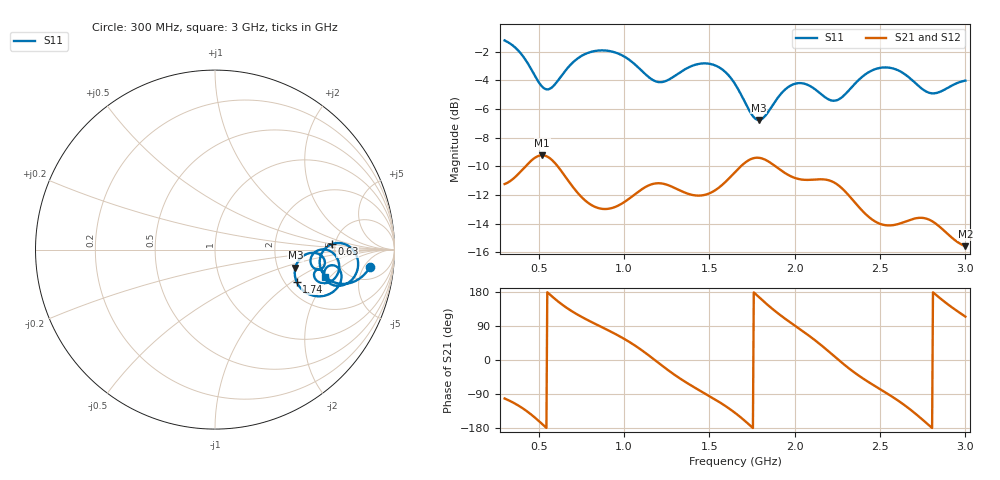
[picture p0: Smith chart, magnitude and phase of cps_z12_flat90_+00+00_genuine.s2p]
! cps_z12_flat90_+00+00_genuine
! simulated by sim/fixtures_fdtd.py (S12 = S21, S22 not computed)
# HZ S RI R 50
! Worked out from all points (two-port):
!   541 points, 300 MHz to 3 GHz, reference 50 ohm
!   highest |S21| = -9.23 dB at 520 MHz (marker M1); lowest = -15.6 dB at 3 GHz (marker M2)
!   |S21| within 3 dB of the highest: start of sweep to 758.2 MHz; 1.032 GHz to 2.332 GHz (1.299 GHz wide, 77.2 % of centre)
!   lowest |S11| = -6.8 dB at 1.79 GHz (marker M3), VSWR 2.70, Z = 125 - j32.2 ohm
!   |S11| at or under -10 dB: nowhere
!   |S22| runs from - to - dB; largest |S21 - S12| = 0
!   S11 on the Smith chart (normalised r, x): 300 MHz: 9, -7; 630 MHz: 4.67, +0.48; 1.74 GHz: 2.31, -1.08; 3 GHz: 3.44, -1.75
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3e8  0.8635 -0.0967  -0.0548 -0.2689  -0.0548 -0.2689  0 0
4.25e8  0.7149 -0.1913  -0.218 -0.2309  -0.218 -0.2309  0 0
5.2e8  0.5898 -0.1085  -0.3392 -0.0665  -0.3392 -0.0665  0 0
6.3e8  0.6497 0.0296  -0.261 0.1593  -0.261 0.1593  0 0
7.5e8  0.767 0.000828  -0.1009 0.2259  -0.1009 0.2259  0 0
8.85e8  0.7948 -0.1067  0.0262 0.223  0.0262 0.223  0 0
1.025e9  0.7218 -0.1953  0.1584 0.184  0.1584 0.184  0 0
1.2e9  0.608 -0.1332  0.2741 -0.0338  0.2741 -0.0338  0 0
1.4e9  0.6989 -0.1202  0.0896 -0.2348  0.0896 -0.2348  0 0
1.525e9  0.6821 -0.2119  -0.0534 -0.2535  -0.0534 -0.2535  0 0
1.65e9  0.5557 -0.2584  -0.2292 -0.1964  -0.2292 -0.1964  0 0
1.74e9  0.4541 -0.1782  -0.3323 -0.0386  -0.3323 -0.0386  0 0
1.79e9  0.4475 -0.1015  -0.3288 0.0816  -0.3288 0.0816  0 0
1.925e9  0.5709 -0.0218  -0.1295 0.2758  -0.1295 0.2758  0 0
2.1e9  0.5877 -0.1089  0.148 0.2424  0.148 0.2424  0 0
2.26e9  0.5413 -0.0315  0.2704 -0.0045  0.2704 -0.0045  0 0
2.38e9  0.6371 -0.00625  0.1665 -0.1538  0.1665 -0.1538  0 0
2.55e9  0.6874 -0.1255  -0.00287 -0.1967  -0.00287 -0.1967  0 0
2.67e9  0.6178 -0.1868  -0.1268 -0.1613  -0.1268 -0.1613  0 0
2.78e9  0.553 -0.1506  -0.2036 -0.0372  -0.2036 -0.0372  0 0
2.885e9  0.5782 -0.1111  -0.1631 0.0901  -0.1631 0.0901  0 0
3e9  0.6104 -0.1535  -0.069 0.1517  -0.069 0.1517  0 0
